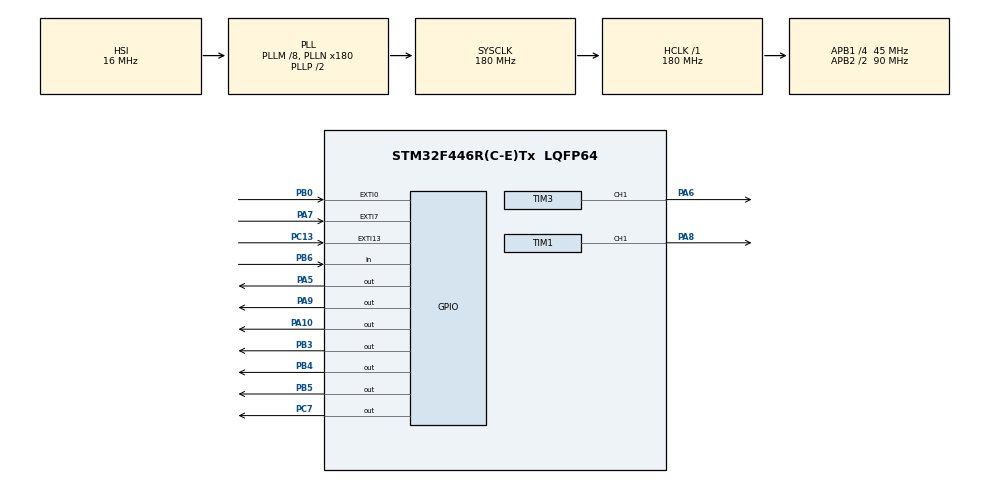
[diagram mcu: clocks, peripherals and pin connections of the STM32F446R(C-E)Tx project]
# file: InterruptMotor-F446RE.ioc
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Mcu.Family=STM32F4
Mcu.Name=STM32F446R(C-E)Tx
Mcu.Package=LQFP64
NVIC.EXTI0_IRQn=true\:0\:0\:false\:false\:true\:true\:true\:true
NVIC.EXTI15_10_IRQn=true\:0\:0\:false\:false\:true\:true\:true\:true
NVIC.EXTI9_5_IRQn=true\:0\:0\:false\:false\:true\:true\:true\:true
NVIC.PriorityGroup=NVIC_PRIORITYGROUP_4
PA10.Signal=GPIO_Output
PA5.Signal=GPIO_Output
PA6.Signal=S_TIM3_CH1
PA7.GPIO_ModeDefaultEXTI=GPIO_MODE_IT_FALLING
PA7.Signal=GPXTI7
PA8.Signal=S_TIM1_CH1
PA9.Signal=GPIO_Output
PB0.GPIO_ModeDefaultEXTI=GPIO_MODE_IT_FALLING
PB0.Signal=GPXTI0
PB3.Signal=GPIO_Output
PB4.Signal=GPIO_Output
PB5.Signal=GPIO_Output
PB6.Signal=GPIO_Input
PC13.GPIO_ModeDefaultEXTI=GPIO_MODE_IT_FALLING
PC13.Signal=GPXTI13
PC7.Signal=GPIO_Output
PH0-OSC_IN.Mode=HSE-External-Clock-Source
PH0-OSC_IN.Signal=RCC_OSC_IN
PH1-OSC_OUT.Mode=HSE-External-Clock-Source
PH1-OSC_OUT.Signal=RCC_OSC_OUT
ProjectManager.HeapSize=0x200
ProjectManager.StackSize=0x400
ProjectManager.TargetToolchain=STM32CubeIDE
RCC.AHBFreq_Value=180000000
RCC.APB1CLKDivider=RCC_HCLK_DIV4
RCC.APB1Freq_Value=45000000
RCC.APB1TimFreq_Value=90000000
RCC.APB2CLKDivider=RCC_HCLK_DIV2
RCC.APB2Freq_Value=90000000
RCC.APB2TimFreq_Value=180000000
RCC.CortexFreq_Value=180000000
RCC.HCLKFreq_Value=180000000
RCC.PLLM=8
RCC.PLLN=180
RCC.SYSCLKFreq_VALUE=180000000
RCC.SYSCLKSource=RCC_SYSCLKSOURCE_PLLCLK
RCC.USBFreq_Value=180000000
RCC.VCOOutputFreq_Value=360000000
SH.S_TIM1_CH1.0=TIM1_CH1,PWM Generation1 CH1
SH.S_TIM3_CH1.0=TIM3_CH1,PWM Generation1 CH1
TIM1.Channel-PWM\ Generation1\ CH1=TIM_CHANNEL_1
TIM1.Period=1124
TIM1.Prescaler=8
TIM3.Channel-PWM\ Generation1\ CH1=TIM_CHANNEL_1
TIM3.Period=499
TIM3.Prescaler=8
VP_TIM1_VS_ClockSourceINT.Mode=Internal
VP_TIM3_VS_ClockSourceINT.Mode=Internal
board=custom

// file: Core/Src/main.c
/* USER CODE BEGIN Header */
/**
  ******************************************************************************
  * @file           : main.c
  * @brief          : Main program for Interrupt controlled Motors
  * Bare repository created: 01/10/2024
  * git 2nd commit 01/10/2024
  ******************************************************************************
  * @attention
  *
  * Copyright (c) 2024 STMicroelectronics.
  * All rights reserved.
  *
  * This software is licensed under terms that can be found in the LICENSE file
  * in the root directory of this software component.
  * If no LICENSE file comes with this software, it is provided AS-IS.
  *
  ******************************************************************************
  */
/* USER CODE END Header */
#include "main.h"

TIM_HandleTypeDef htim1;
TIM_HandleTypeDef htim3;

/* USER CODE BEGIN PV */

uint8_t mode = 0;
uint16_t speed = 0;

/* USER CODE END PV */

void SystemClock_Config(void);
static void MX_GPIO_Init(void);
static void MX_TIM1_Init(void);
static void MX_TIM3_Init(void);

/* USER CODE BEGIN 0 */

void HAL_GPIO_EXTI_Callback(uint16_t GPIO_Pin)
{
	if (GPIO_Pin == GPIO_PIN_13) {
	        /* Handle interrupt triggered by GPIO_PIN_13 (e.g., PC13)
			 Do Nothing */

	        mode = 0;
	        speed = 0;
	    }

	    else if (GPIO_Pin == GPIO_PIN_7) {
	        /* Handle interrupt triggered by GPIO_PIN_7 (e.g., PA7)
	         * Forward Movement     */

	        mode = 1;
	        speed = 1000;
	    }
	    else if (GPIO_Pin == GPIO_PIN_0) {
	        /* Handle interrupt triggered by GPIO_PIN_0 (e.g., PB0)
	         * Backward Movement      */

	        mode = 2;
	        speed = 1000;
	    }
}

/* USER CODE END 0 */

int main(void)
{

  /* MCU Configuration--------------------------------------------------------*/

  /* Reset of all peripherals, Initializes the Flash interface and the Systick. */
  HAL_Init();

  /* Configure the system clock */
  SystemClock_Config();

  /* Initialize all configured peripherals */
  MX_GPIO_Init();
  MX_TIM1_Init();
  MX_TIM3_Init();

  /* Infinite loop */
  while (1)
  {

    /* USER CODE BEGIN 3 */

	  if (mode == 0){	/* No Movement */

	  TIM1->CCR1 = speed;
	  HAL_TIM_PWM_Start(&htim1, TIM_CHANNEL_1);

	  TIM3->CCR1 = speed;
	  HAL_TIM_PWM_Start(&htim3, TIM_CHANNEL_1);

	  //Motor 1
	  HAL_GPIO_WritePin(GPIOB, GPIO_PIN_4, 0);
	  HAL_GPIO_WritePin(GPIOB, GPIO_PIN_5, 0);

	  // Motor 2
 	  HAL_GPIO_WritePin(GPIOB, GPIO_PIN_3, 0);
 	  HAL_GPIO_WritePin(GPIOA, GPIO_PIN_10, 0);

   	  HAL_GPIO_WritePin(GPIOC, GPIO_PIN_7, 0); // Green LED turn low
   	  HAL_GPIO_WritePin(GPIOA, GPIO_PIN_9, 0); // White LED turn low
 	  HAL_GPIO_WritePin(GPIOA, GPIO_PIN_5, 1); // Red LED turn high

	  }
	  /* 2 Forward Movement*/
	  else if (mode == 1){

	  TIM1->CCR1 = speed;
	  HAL_TIM_PWM_Start(&htim1, TIM_CHANNEL_1);

	  TIM3->CCR1 = speed;
	  HAL_TIM_PWM_Start(&htim3, TIM_CHANNEL_1);

	  //Motor 1
	  HAL_GPIO_WritePin(GPIOB, GPIO_PIN_4, 0);
	  HAL_GPIO_WritePin(GPIOB, GPIO_PIN_5, 1);

	  // Motor 2
	  HAL_GPIO_WritePin(GPIOB, GPIO_PIN_3, 0);
	  HAL_GPIO_WritePin(GPIOA, GPIO_PIN_10, 1);

	  HAL_GPIO_WritePin(GPIOC, GPIO_PIN_7, 1); // Green LED turn high
	  HAL_GPIO_WritePin(GPIOA, GPIO_PIN_9, 0); // White LED turn low
	  HAL_GPIO_WritePin(GPIOA, GPIO_PIN_5, 0); // Red LED turn low

	  }

	  // Backward speed
	  else if (mode == 2){

	  TIM1->CCR1 = speed;
	  HAL_TIM_PWM_Start(&htim1, TIM_CHANNEL_1);

	  TIM3->CCR1 = speed;
	  HAL_TIM_PWM_Start(&htim3, TIM_CHANNEL_1);

	  // Motor 1
	  HAL_GPIO_WritePin(GPIOB, GPIO_PIN_4, 1);
	  HAL_GPIO_WritePin(GPIOB, GPIO_PIN_5, 0);

	  // Motor 2
	  HAL_GPIO_WritePin(GPIOB, GPIO_PIN_3, 1);
	  HAL_GPIO_WritePin(GPIOA, GPIO_PIN_10, 0);

	  HAL_GPIO_WritePin(GPIOC, GPIO_PIN_7, 0); // Green LED turn low
	  HAL_GPIO_WritePin(GPIOA, GPIO_PIN_9, 1); // White LED turn high
	  HAL_GPIO_WritePin(GPIOA, GPIO_PIN_5, 0); // Red LED turn low
	  }

  }
  /* USER CODE END 3 */
}

void SystemClock_Config(void)
{
  RCC_OscInitTypeDef RCC_OscInitStruct = {0};
  RCC_ClkInitTypeDef RCC_ClkInitStruct = {0};

  /** Configure the main internal regulator output voltage
  */
  __HAL_RCC_PWR_CLK_ENABLE();
  __HAL_PWR_VOLTAGESCALING_CONFIG(PWR_REGULATOR_VOLTAGE_SCALE1);

  /** Initializes the RCC Oscillators according to the specified parameters
  * in the RCC_OscInitTypeDef structure.
  */
  RCC_OscInitStruct.OscillatorType = RCC_OSCILLATORTYPE_HSI;
  RCC_OscInitStruct.HSIState = RCC_HSI_ON;
  RCC_OscInitStruct.HSICalibrationValue = RCC_HSICALIBRATION_DEFAULT;
  RCC_OscInitStruct.PLL.PLLState = RCC_PLL_ON;
  RCC_OscInitStruct.PLL.PLLSource = RCC_PLLSOURCE_HSI;
  RCC_OscInitStruct.PLL.PLLM = 8;
  RCC_OscInitStruct.PLL.PLLN = 180;
  RCC_OscInitStruct.PLL.PLLP = RCC_PLLP_DIV2;
  RCC_OscInitStruct.PLL.PLLQ = 2;
  RCC_OscInitStruct.PLL.PLLR = 2;
  if (HAL_RCC_OscConfig(&RCC_OscInitStruct) != HAL_OK)
  {
    Error_Handler();
  }

  /** Activate the Over-Drive mode
  */
  if (HAL_PWREx_EnableOverDrive() != HAL_OK)
  {
    Error_Handler();
  }

  /** Initializes the CPU, AHB and APB buses clocks
  */
  RCC_ClkInitStruct.ClockType = RCC_CLOCKTYPE_HCLK|RCC_CLOCKTYPE_SYSCLK
                              |RCC_CLOCKTYPE_PCLK1|RCC_CLOCKTYPE_PCLK2;
  RCC_ClkInitStruct.SYSCLKSource = RCC_SYSCLKSOURCE_PLLCLK;
  RCC_ClkInitStruct.AHBCLKDivider = RCC_SYSCLK_DIV1;
  RCC_ClkInitStruct.APB1CLKDivider = RCC_HCLK_DIV4;
  RCC_ClkInitStruct.APB2CLKDivider = RCC_HCLK_DIV2;

  if (HAL_RCC_ClockConfig(&RCC_ClkInitStruct, FLASH_LATENCY_5) != HAL_OK)
  {
    Error_Handler();
  }
}

static void MX_TIM1_Init(void)
{

  TIM_ClockConfigTypeDef sClockSourceConfig = {0};
  TIM_MasterConfigTypeDef sMasterConfig = {0};
  TIM_OC_InitTypeDef sConfigOC = {0};
  TIM_BreakDeadTimeConfigTypeDef sBreakDeadTimeConfig = {0};

  htim1.Instance = TIM1;
  htim1.Init.Prescaler = 8;
  htim1.Init.CounterMode = TIM_COUNTERMODE_UP;
  htim1.Init.Period = 1124;
  htim1.Init.ClockDivision = TIM_CLOCKDIVISION_DIV1;
  htim1.Init.RepetitionCounter = 0;
  htim1.Init.AutoReloadPreload = TIM_AUTORELOAD_PRELOAD_DISABLE;
  if (HAL_TIM_Base_Init(&htim1) != HAL_OK)
  {
    Error_Handler();
  }
  sClockSourceConfig.ClockSource = TIM_CLOCKSOURCE_INTERNAL;
  if (HAL_TIM_ConfigClockSource(&htim1, &sClockSourceConfig) != HAL_OK)
  {
    Error_Handler();
  }
  if (HAL_TIM_PWM_Init(&htim1) != HAL_OK)
  {
    Error_Handler();
  }
  sMasterConfig.MasterOutputTrigger = TIM_TRGO_RESET;
  sMasterConfig.MasterSlaveMode = TIM_MASTERSLAVEMODE_DISABLE;
  if (HAL_TIMEx_MasterConfigSynchronization(&htim1, &sMasterConfig) != HAL_OK)
  {
    Error_Handler();
  }
  sConfigOC.OCMode = TIM_OCMODE_PWM1;
  sConfigOC.Pulse = 0;
  sConfigOC.OCPolarity = TIM_OCPOLARITY_HIGH;
  sConfigOC.OCNPolarity = TIM_OCNPOLARITY_HIGH;
  sConfigOC.OCFastMode = TIM_OCFAST_DISABLE;
  sConfigOC.OCIdleState = TIM_OCIDLESTATE_RESET;
  sConfigOC.OCNIdleState = TIM_OCNIDLESTATE_RESET;
  if (HAL_TIM_PWM_ConfigChannel(&htim1, &sConfigOC, TIM_CHANNEL_1) != HAL_OK)
  {
    Error_Handler();
  }
  sBreakDeadTimeConfig.OffStateRunMode = TIM_OSSR_DISABLE;
  sBreakDeadTimeConfig.OffStateIDLEMode = TIM_OSSI_DISABLE;
  sBreakDeadTimeConfig.LockLevel = TIM_LOCKLEVEL_OFF;
  sBreakDeadTimeConfig.DeadTime = 0;
  sBreakDeadTimeConfig.BreakState = TIM_BREAK_DISABLE;
  sBreakDeadTimeConfig.BreakPolarity = TIM_BREAKPOLARITY_HIGH;
  sBreakDeadTimeConfig.AutomaticOutput = TIM_AUTOMATICOUTPUT_DISABLE;
  if (HAL_TIMEx_ConfigBreakDeadTime(&htim1, &sBreakDeadTimeConfig) != HAL_OK)
  {
    Error_Handler();
  }
  HAL_TIM_MspPostInit(&htim1);

}

static void MX_TIM3_Init(void)
{

  TIM_ClockConfigTypeDef sClockSourceConfig = {0};
  TIM_MasterConfigTypeDef sMasterConfig = {0};
  TIM_OC_InitTypeDef sConfigOC = {0};

  htim3.Instance = TIM3;
  htim3.Init.Prescaler = 8;
  htim3.Init.CounterMode = TIM_COUNTERMODE_UP;
  htim3.Init.Period = 1124;
  htim3.Init.ClockDivision = TIM_CLOCKDIVISION_DIV1;
  htim3.Init.AutoReloadPreload = TIM_AUTORELOAD_PRELOAD_DISABLE;
  if (HAL_TIM_Base_Init(&htim3) != HAL_OK)
  {
    Error_Handler();
  }
  sClockSourceConfig.ClockSource = TIM_CLOCKSOURCE_INTERNAL;
  if (HAL_TIM_ConfigClockSource(&htim3, &sClockSourceConfig) != HAL_OK)
  {
    Error_Handler();
  }
  if (HAL_TIM_PWM_Init(&htim3) != HAL_OK)
  {
    Error_Handler();
  }
  sMasterConfig.MasterOutputTrigger = TIM_TRGO_RESET;
  sMasterConfig.MasterSlaveMode = TIM_MASTERSLAVEMODE_DISABLE;
  if (HAL_TIMEx_MasterConfigSynchronization(&htim3, &sMasterConfig) != HAL_OK)
  {
    Error_Handler();
  }
  sConfigOC.OCMode = TIM_OCMODE_PWM1;
  sConfigOC.Pulse = 0;
  sConfigOC.OCPolarity = TIM_OCPOLARITY_HIGH;
  sConfigOC.OCFastMode = TIM_OCFAST_DISABLE;
  if (HAL_TIM_PWM_ConfigChannel(&htim3, &sConfigOC, TIM_CHANNEL_1) != HAL_OK)
  {
    Error_Handler();
  }
  HAL_TIM_MspPostInit(&htim3);

}

static void MX_GPIO_Init(void)
{
  GPIO_InitTypeDef GPIO_InitStruct = {0};

  /* GPIO Ports Clock Enable */
  __HAL_RCC_GPIOC_CLK_ENABLE();
  __HAL_RCC_GPIOH_CLK_ENABLE();
  __HAL_RCC_GPIOA_CLK_ENABLE();
  __HAL_RCC_GPIOB_CLK_ENABLE();

  /*Configure GPIO pin Output Level */
  HAL_GPIO_WritePin(GPIOA, GPIO_PIN_5|GPIO_PIN_9|GPIO_PIN_10, GPIO_PIN_RESET);

  /*Configure GPIO pin Output Level */
  HAL_GPIO_WritePin(GPIOC, GPIO_PIN_7, GPIO_PIN_RESET);

  /*Configure GPIO pin Output Level */
  HAL_GPIO_WritePin(GPIOB, GPIO_PIN_3|GPIO_PIN_4|GPIO_PIN_5, GPIO_PIN_RESET);

  /*Configure GPIO pin : PC13 */
  GPIO_InitStruct.Pin = GPIO_PIN_13;
  GPIO_InitStruct.Mode = GPIO_MODE_IT_FALLING;
  GPIO_InitStruct.Pull = GPIO_NOPULL;
  HAL_GPIO_Init(GPIOC, &GPIO_InitStruct);

  /*Configure GPIO pins : PA5 PA9 PA10 */
  GPIO_InitStruct.Pin = GPIO_PIN_5|GPIO_PIN_9|GPIO_PIN_10;
  GPIO_InitStruct.Mode = GPIO_MODE_OUTPUT_PP;
  GPIO_InitStruct.Pull = GPIO_NOPULL;
  GPIO_InitStruct.Speed = GPIO_SPEED_FREQ_LOW;
  HAL_GPIO_Init(GPIOA, &GPIO_InitStruct);

  /*Configure GPIO pin : PA7 */
  GPIO_InitStruct.Pin = GPIO_PIN_7;
  GPIO_InitStruct.Mode = GPIO_MODE_IT_FALLING;
  GPIO_InitStruct.Pull = GPIO_NOPULL;
  HAL_GPIO_Init(GPIOA, &GPIO_InitStruct);

  /*Configure GPIO pin : PB0 */
  GPIO_InitStruct.Pin = GPIO_PIN_0;
  GPIO_InitStruct.Mode = GPIO_MODE_IT_FALLING;
  GPIO_InitStruct.Pull = GPIO_NOPULL;
  HAL_GPIO_Init(GPIOB, &GPIO_InitStruct);

  /*Configure GPIO pin : PC7 */
  GPIO_InitStruct.Pin = GPIO_PIN_7;
  GPIO_InitStruct.Mode = GPIO_MODE_OUTPUT_PP;
  GPIO_InitStruct.Pull = GPIO_NOPULL;
  GPIO_InitStruct.Speed = GPIO_SPEED_FREQ_LOW;
  HAL_GPIO_Init(GPIOC, &GPIO_InitStruct);

  /*Configure GPIO pins : PB3 PB4 PB5 */
  GPIO_InitStruct.Pin = GPIO_PIN_3|GPIO_PIN_4|GPIO_PIN_5;
  GPIO_InitStruct.Mode = GPIO_MODE_OUTPUT_PP;
  GPIO_InitStruct.Pull = GPIO_NOPULL;
  GPIO_InitStruct.Speed = GPIO_SPEED_FREQ_LOW;
  HAL_GPIO_Init(GPIOB, &GPIO_InitStruct);

  /*Configure GPIO pin : PB6 */
  GPIO_InitStruct.Pin = GPIO_PIN_6;
  GPIO_InitStruct.Mode = GPIO_MODE_INPUT;
  GPIO_InitStruct.Pull = GPIO_NOPULL;
  HAL_GPIO_Init(GPIOB, &GPIO_InitStruct);

  /* EXTI interrupt init*/
  HAL_NVIC_SetPriority(EXTI0_IRQn, 0, 0);
  HAL_NVIC_EnableIRQ(EXTI0_IRQn);

  HAL_NVIC_SetPriority(EXTI9_5_IRQn, 0, 0);
  HAL_NVIC_EnableIRQ(EXTI9_5_IRQn);

  HAL_NVIC_SetPriority(EXTI15_10_IRQn, 0, 0);
  HAL_NVIC_EnableIRQ(EXTI15_10_IRQn);

}

void Error_Handler(void)
{
  __disable_irq();
  while (1)
  {
  }
}
